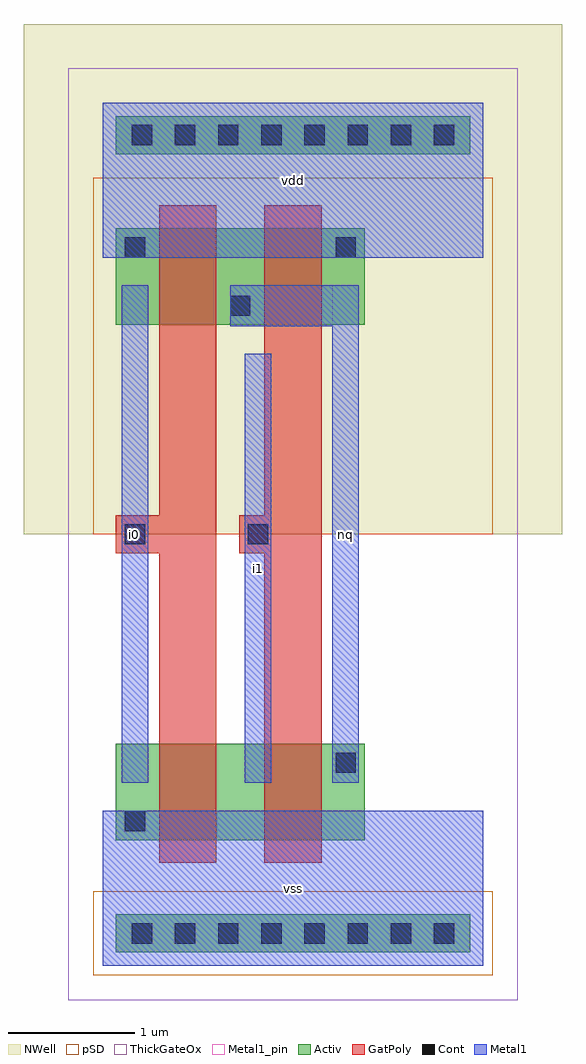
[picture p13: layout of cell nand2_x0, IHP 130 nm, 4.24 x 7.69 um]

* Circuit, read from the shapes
.subckt nand2_x0 i0 i1 nq vdd vss
XM1 n1 i0 vss vss sg13_hv_nmos w=0.76u l=0.45u
XM2 nq i1 n1 vss sg13_hv_nmos w=0.76u l=0.45u
XM3 nq i0 vdd vdd sg13_hv_pmos w=0.76u l=0.45u
XM4 vdd i1 nq vdd sg13_hv_pmos w=0.76u l=0.45u
.ends

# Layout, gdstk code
import gdstk
lib = gdstk.Library(unit=1e-6, precision=1e-09)
def R(c, l, rs):  # rectangles x0, y0, x1, y1
    for r in rs: c.add(gdstk.rectangle(r[:2], r[2:], *l))
def A(c, l, x, y, w, h, nx, ny, dx, dy):  # array of equal rectangles
    R(c, l, [(x+i*dx, y+j*dy, x+i*dx+w, y+j*dy+h) for i in range(nx) for j in range(ny)])
def P(c, l, *ps):  # polygons
    for p in ps: c.add(gdstk.Polygon(p, *l))
Activ = (1, 0)
GatPoly = (5, 0)
Cont = (6, 0)
Metal1 = (8, 0)
Metal1_pin = (8, 2)
pSD = (14, 0)
NWell = (31, 0)
ThickGateOx = (44, 0)

nand2_x0 = lib.new_cell('nand2_x0')
R(nand2_x0, Activ, [(0.105,0.105,2.895,0.405), (0.105,0.99,2.065,1.75), (0.105,5.05,2.065,5.81), (0.105,6.395,2.895,6.695)])
P(nand2_x0, GatPoly, [(0.445,0.81),(0.445,3.25),(0.105,3.25),(0.105,3.55),(0.445,3.55),(0.445,5.99),(0.895,5.99),(0.895,0.81)],
  [(1.275,0.81),(1.275,3.25),(1.075,3.25),(1.075,3.55),(1.275,3.55),(1.275,5.99),(1.725,5.99),(1.725,0.81)])
A(nand2_x0, Cont, 0.23, 0.175, 0.16, 0.16, 8, 2, 0.34, 6.29)
A(nand2_x0, Cont, 0.175, 1.06, 0.16, 0.16, 1, 3, 0, 2.26)
R(nand2_x0, Cont, [(1.835,1.52,1.995,1.68), (1.145,3.32,1.305,3.48), (1.005,5.12,1.165,5.28), (1.835,5.58,1.995,5.74)])
R(nand2_x0, Metal1, [(0,0,3,1.22), (0.15,1.44,0.36,5.36), (1.12,1.44,1.33,4.82), (0,5.58,3,6.8)])
P(nand2_x0, Metal1, [(1.81,1.44),(1.81,5.04),(1.005,5.04),(1.005,5.36),(2.02,5.36),(2.02,1.44)])
R(nand2_x0, Metal1_pin, [(0,0,3,1.22), (0.15,1.44,0.36,5.36), (1.12,1.44,1.33,4.82), (1.81,1.44,2.02,5.36), (0,5.58,3,6.8)])
R(nand2_x0, pSD, [(-0.075,-0.075,3.075,0.585), (-0.075,3.4,3.075,6.21)])
R(nand2_x0, NWell, [(-0.62,3.4,3.62,7.42)])
R(nand2_x0, ThickGateOx, [(-0.27,-0.27,3.27,7.07)])
nand2_x0.add(gdstk.Label('vss', (1.5,0.61), layer=8, texttype=2))
nand2_x0.add(gdstk.Label('vdd', (1.5,6.19), layer=8, texttype=2))
nand2_x0.add(gdstk.Label('i0', (0.255,3.4), layer=8, texttype=2))
nand2_x0.add(gdstk.Label('nq', (1.915,3.4), layer=8, texttype=2))
nand2_x0.add(gdstk.Label('i1', (1.225,3.13), layer=8, texttype=2))

lib.write_gds('nand2_x0.gds')
